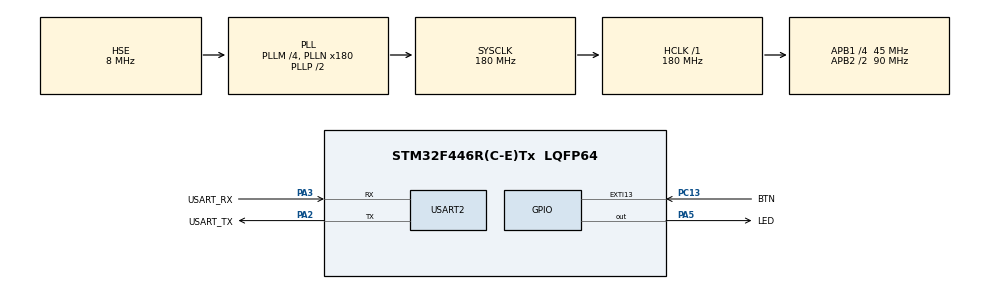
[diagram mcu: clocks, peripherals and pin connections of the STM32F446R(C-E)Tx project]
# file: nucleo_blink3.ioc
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Mcu.Family=STM32F4
Mcu.Name=STM32F446R(C-E)Tx
Mcu.Package=LQFP64
NVIC.EXTI15_10_IRQn=true\:0\:0\:false\:false\:true\:true\:true\:true
NVIC.PriorityGroup=NVIC_PRIORITYGROUP_0
PA13.GPIO_Label=TMS
PA13.Mode=Serial_Wire
PA13.Signal=SYS_JTMS-SWDIO
PA14.GPIO_Label=TCK
PA14.Mode=Serial_Wire
PA14.Signal=SYS_JTCK-SWCLK
PA2.GPIO_Label=USART_TX
PA2.Mode=Asynchronous
PA2.Signal=USART2_TX
PA3.GPIO_Label=USART_RX
PA3.Mode=Asynchronous
PA3.Signal=USART2_RX
PA5.GPIO_Label=LED
PA5.Signal=GPIO_Output
PB3.GPIO_Label=SWO
PB3.Signal=SYS_JTDO-SWO
PC13.GPIO_Label=BTN
PC13.GPIO_ModeDefaultEXTI=GPIO_MODE_IT_FALLING
PC13.Signal=GPXTI13
PC14-OSC32_IN.Mode=LSE-External-Oscillator
PC14-OSC32_IN.Signal=RCC_OSC32_IN
PC15-OSC32_OUT.Mode=LSE-External-Oscillator
PC15-OSC32_OUT.Signal=RCC_OSC32_OUT
PH0-OSC_IN.Mode=HSE-External-Oscillator
PH0-OSC_IN.Signal=RCC_OSC_IN
PH1-OSC_OUT.Mode=HSE-External-Oscillator
PH1-OSC_OUT.Signal=RCC_OSC_OUT
ProjectManager.HeapSize=0x200
ProjectManager.StackSize=0x400
ProjectManager.TargetToolchain=STM32CubeIDE
RCC.48MHZClocksFreq_Value=84000000
RCC.AHBFreq_Value=180000000
RCC.APB1CLKDivider=RCC_HCLK_DIV4
RCC.APB1Freq_Value=45000000
RCC.APB1TimFreq_Value=90000000
RCC.APB2CLKDivider=RCC_HCLK_DIV2
RCC.APB2Freq_Value=90000000
RCC.APB2TimFreq_Value=180000000
RCC.CortexFreq_Value=180000000
RCC.FLatency-AdvancedSettings=FLASH_LATENCY_5
RCC.HCLKFreq_Value=180000000
RCC.HSE_VALUE=8000000
RCC.HSI_VALUE=16000000
RCC.PLLM=4
RCC.PLLN=180
RCC.PLLSourceVirtual=RCC_PLLSOURCE_HSE
RCC.SYSCLKFreq_VALUE=180000000
RCC.SYSCLKSource=RCC_SYSCLKSOURCE_PLLCLK
RCC.USBFreq_Value=180000000
RCC.VCOOutputFreq_Value=360000000
USART2.VirtualMode=VM_ASYNC
board=NUCLEO-F446RE

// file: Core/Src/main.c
/* USER CODE BEGIN Header */
/**
  ******************************************************************************
  * @file           : main.c
  * @brief          : Main program body
  ******************************************************************************
  * @attention
  *
  * Copyright (c) 2025 STMicroelectronics.
  * All rights reserved.
  *
  * This software is licensed under terms that can be found in the LICENSE file
  * in the root directory of this software component.
  * If no LICENSE file comes with this software, it is provided AS-IS.
  *
  ******************************************************************************
  */
/* USER CODE END Header */
#include "main.h"

/* USER CODE BEGIN Includes */
#include <stdio.h>
/* USER CODE END Includes */

UART_HandleTypeDef huart2;

/* USER CODE BEGIN PV */
uint16_t btn_speeds[] = {1000,500,250,125};
uint8_t btn_speed;
uint8_t btn_press;
/* USER CODE END PV */

void SystemClock_Config(void);
static void MX_GPIO_Init(void);
static void MX_USART2_UART_Init(void);

/* USER CODE BEGIN 0 */
// Send printf to uart1
int _write(int fd, char* ptr, int len) {
  HAL_StatusTypeDef hstatus;

  if (fd == 1 || fd == 2) {
    hstatus = HAL_UART_Transmit(&huart2, (uint8_t *) ptr, len, HAL_MAX_DELAY);
    if (hstatus == HAL_OK)
      return len;
    else
      return -1;
  }
  return -1;
}

void HAL_GPIO_EXTI_Callback(uint16_t GPIO_Pin){
	if (GPIO_Pin == BTN_Pin){
		btn_press = 1;
	}
}

/* USER CODE END 0 */

int main(void)
{

  /* MCU Configuration--------------------------------------------------------*/

  /* Reset of all peripherals, Initializes the Flash interface and the Systick. */
  HAL_Init();

  /* Configure the system clock */
  SystemClock_Config();

  /* Initialize all configured peripherals */
  MX_GPIO_Init();
  MX_USART2_UART_Init();

  /* Infinite loop */
  /* USER CODE BEGIN WHILE */
  uint32_t now = 0, next_blink = 1000, next_tick = 1000, loop_cnt = 0;
  while (1)
  {
	  now = HAL_GetTick();

	  if (now >= next_blink){
		  HAL_GPIO_TogglePin(LED_GPIO_Port, LED_Pin);
		  next_blink = now + btn_speeds[btn_speed];
	  }

	  if (now >= next_tick){
		  printf("Tick: %lu\nLoop Count: %lu\n", now / 1000,loop_cnt);
		  loop_cnt = 0;
		  next_tick = now + 1000;
	  }

	  if (btn_press){
		  printf("Button pressed at tick %lu\n",now / 1000);
		  ++btn_speed;
		  if (btn_speed >= sizeof(btn_speeds) / sizeof(btn_speeds[0])){
			  btn_speed = 0;
		  }
		  printf("LED speed set to %d\n",btn_speeds[btn_speed]);
		  btn_press = 0;
	  }

	  ++loop_cnt;
    /* USER CODE END WHILE */

  }
}

void SystemClock_Config(void)
{
  RCC_OscInitTypeDef RCC_OscInitStruct = {0};
  RCC_ClkInitTypeDef RCC_ClkInitStruct = {0};

  /** Configure the main internal regulator output voltage
  */
  __HAL_RCC_PWR_CLK_ENABLE();
  __HAL_PWR_VOLTAGESCALING_CONFIG(PWR_REGULATOR_VOLTAGE_SCALE1);

  /** Initializes the RCC Oscillators according to the specified parameters
  * in the RCC_OscInitTypeDef structure.
  */
  RCC_OscInitStruct.OscillatorType = RCC_OSCILLATORTYPE_HSE;
  RCC_OscInitStruct.HSEState = RCC_HSE_ON;
  RCC_OscInitStruct.PLL.PLLState = RCC_PLL_ON;
  RCC_OscInitStruct.PLL.PLLSource = RCC_PLLSOURCE_HSE;
  RCC_OscInitStruct.PLL.PLLM = 4;
  RCC_OscInitStruct.PLL.PLLN = 180;
  RCC_OscInitStruct.PLL.PLLP = RCC_PLLP_DIV2;
  RCC_OscInitStruct.PLL.PLLQ = 2;
  RCC_OscInitStruct.PLL.PLLR = 2;
  if (HAL_RCC_OscConfig(&RCC_OscInitStruct) != HAL_OK)
  {
    Error_Handler();
  }

  /** Activate the Over-Drive mode
  */
  if (HAL_PWREx_EnableOverDrive() != HAL_OK)
  {
    Error_Handler();
  }

  /** Initializes the CPU, AHB and APB buses clocks
  */
  RCC_ClkInitStruct.ClockType = RCC_CLOCKTYPE_HCLK|RCC_CLOCKTYPE_SYSCLK
                              |RCC_CLOCKTYPE_PCLK1|RCC_CLOCKTYPE_PCLK2;
  RCC_ClkInitStruct.SYSCLKSource = RCC_SYSCLKSOURCE_PLLCLK;
  RCC_ClkInitStruct.AHBCLKDivider = RCC_SYSCLK_DIV1;
  RCC_ClkInitStruct.APB1CLKDivider = RCC_HCLK_DIV4;
  RCC_ClkInitStruct.APB2CLKDivider = RCC_HCLK_DIV2;

  if (HAL_RCC_ClockConfig(&RCC_ClkInitStruct, FLASH_LATENCY_5) != HAL_OK)
  {
    Error_Handler();
  }
}

static void MX_USART2_UART_Init(void)
{

  huart2.Instance = USART2;
  huart2.Init.BaudRate = 115200;
  huart2.Init.WordLength = UART_WORDLENGTH_8B;
  huart2.Init.StopBits = UART_STOPBITS_1;
  huart2.Init.Parity = UART_PARITY_NONE;
  huart2.Init.Mode = UART_MODE_TX_RX;
  huart2.Init.HwFlowCtl = UART_HWCONTROL_NONE;
  huart2.Init.OverSampling = UART_OVERSAMPLING_16;
  if (HAL_UART_Init(&huart2) != HAL_OK)
  {
    Error_Handler();
  }

}

static void MX_GPIO_Init(void)
{
  GPIO_InitTypeDef GPIO_InitStruct = {0};

  /* GPIO Ports Clock Enable */
  __HAL_RCC_GPIOC_CLK_ENABLE();
  __HAL_RCC_GPIOH_CLK_ENABLE();
  __HAL_RCC_GPIOA_CLK_ENABLE();
  __HAL_RCC_GPIOB_CLK_ENABLE();

  /*Configure GPIO pin Output Level */
  HAL_GPIO_WritePin(LED_GPIO_Port, LED_Pin, GPIO_PIN_RESET);

  /*Configure GPIO pin : BTN_Pin */
  GPIO_InitStruct.Pin = BTN_Pin;
  GPIO_InitStruct.Mode = GPIO_MODE_IT_FALLING;
  GPIO_InitStruct.Pull = GPIO_NOPULL;
  HAL_GPIO_Init(BTN_GPIO_Port, &GPIO_InitStruct);

  /*Configure GPIO pin : LED_Pin */
  GPIO_InitStruct.Pin = LED_Pin;
  GPIO_InitStruct.Mode = GPIO_MODE_OUTPUT_PP;
  GPIO_InitStruct.Pull = GPIO_NOPULL;
  GPIO_InitStruct.Speed = GPIO_SPEED_FREQ_LOW;
  HAL_GPIO_Init(LED_GPIO_Port, &GPIO_InitStruct);

  /* EXTI interrupt init*/
  HAL_NVIC_SetPriority(EXTI15_10_IRQn, 0, 0);
  HAL_NVIC_EnableIRQ(EXTI15_10_IRQn);

}

void Error_Handler(void)
{
  __disable_irq();
  while (1)
  {
  }
}
